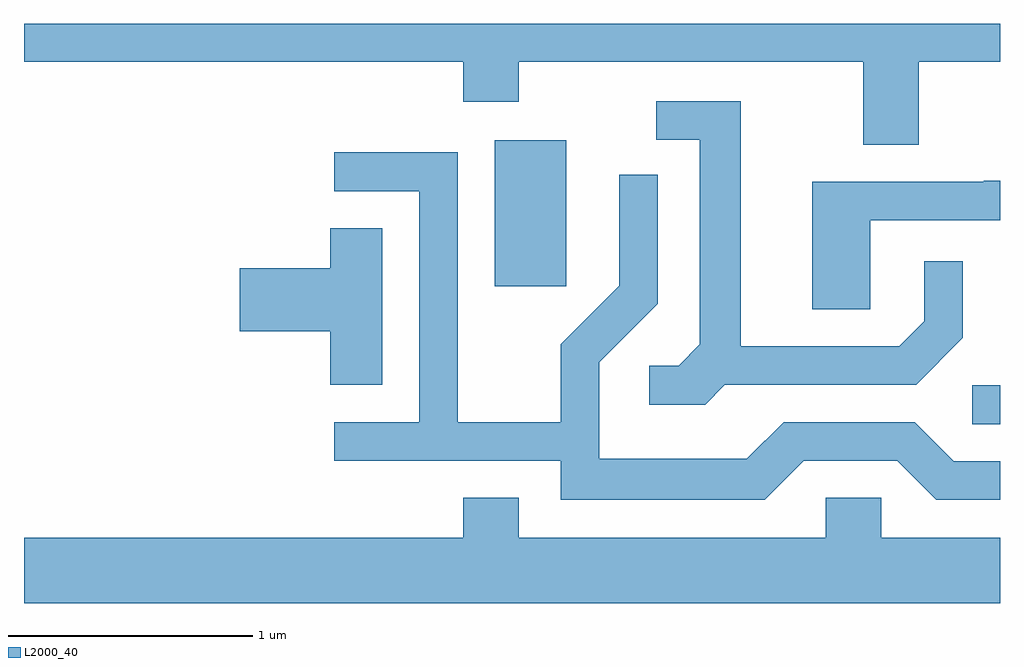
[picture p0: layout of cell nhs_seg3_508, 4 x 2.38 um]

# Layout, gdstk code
import gdstk
lib = gdstk.Library(unit=1e-6, precision=1e-09)
def R(c, l, rs):  # rectangles x0, y0, x1, y1
    for r in rs: c.add(gdstk.rectangle(r[:2], r[2:], *l))
def P(c, l, *ps):  # polygons
    for p in ps: c.add(gdstk.Polygon(p, *l))
L2000_40 = (2000, 40)

nhs_seg3_508 = lib.new_cell('nhs_seg3_508')
R(nhs_seg3_508, L2000_40, [(203.498,1182.251,203.611,1182.409), (201.541,1182.816,201.834,1183.414)])
P(nhs_seg3_508, L2000_40, [(203.279,1183.736),(203.611,1183.736),(203.611,1183.892),(199.611,1183.892),(199.611,1183.736),(201.411,1183.736),(201.411,1183.571),(201.639,1183.571),(201.639,1183.736),(203.051,1183.736),(203.051,1183.396),(203.279,1183.396)],
  [(202.482,1182.411),(203.267,1182.411),(203.459,1182.604),(203.459,1182.918),(203.301,1182.918),(203.301,1182.672),(203.199,1182.569),(202.549,1182.569),(202.549,1183.574),(202.203,1183.574),(202.203,1183.416),(202.381,1183.416),(202.381,1182.577),(202.294,1182.489),(202.173,1182.489),(202.173,1182.331),(202.402,1182.331)],
  [(202.807,1182.101),(203.189,1182.101),(203.349,1181.941),(203.611,1181.941),(203.611,1182.099),(203.422,1182.099),(203.262,1182.259),(202.724,1182.259),(202.574,1182.109),(201.969,1182.109),(201.969,1182.504),(202.209,1182.744),(202.209,1183.273),(202.051,1183.273),(202.051,1182.817),(201.811,1182.577),(201.811,1182.259),(201.389,1182.259),(201.389,1183.364),(200.883,1183.364),(200.883,1183.206),(201.231,1183.206),(201.231,1182.259),(200.883,1182.259),(200.883,1182.101),(201.811,1182.101),(201.811,1181.941),(202.647,1181.941)],
  [(203.079,1183.086),(203.611,1183.086),(203.611,1183.249),(203.545,1183.249),(203.545,1183.244),(202.841,1183.244),(202.841,1182.721),(203.079,1182.721)],
  [(201.079,1183.054),(200.866,1183.054),(200.866,1182.889),(200.496,1182.889),(200.496,1182.631),(200.866,1182.631),(200.866,1182.411),(201.079,1182.411)],
  [(203.611,1181.784),(203.124,1181.784),(203.124,1181.949),(202.896,1181.949),(202.896,1181.784),(201.639,1181.784),(201.639,1181.949),(201.411,1181.949),(201.411,1181.784),(199.611,1181.784),(199.611,1181.516),(203.611,1181.516)])

lib.write_gds('nhs_seg3_508.gds')
